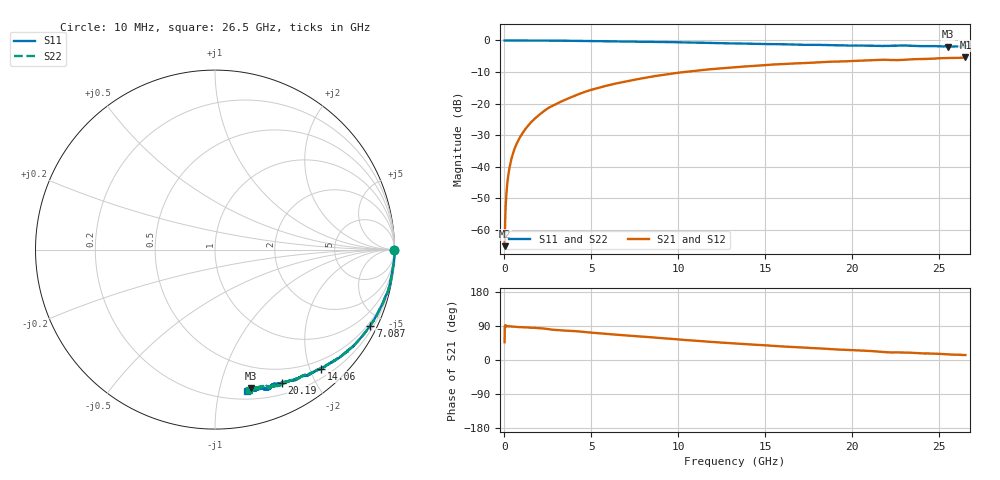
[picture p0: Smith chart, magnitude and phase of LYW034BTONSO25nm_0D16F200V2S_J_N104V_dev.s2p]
!Keysight Technologies,N5222B,MY61253708,A.15.00.15
!Date: Wednesday, June 19, 2024 09:40:27
!Correction: S11(C  2-Port  )
!S21(C  2-Port  )
!S12(C  2-Port  )
!S22(C  2-Port  )
!S2P File: Measurements: S11, S21, S12, S22:
# Hz S  RI  R 50
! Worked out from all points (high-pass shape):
!   2651 points, 10 MHz to 26.5 GHz, reference 50 ohm
!   highest |S21| = -5.39 dB at 26.5 GHz (marker M1); lowest = -65.1 dB at 10 MHz (marker M2)
!   |S21| within 3 dB of the highest: 13.44 GHz to end of sweep
!   lowest |S11| = -2.0 dB at 25.5 GHz (marker M3), VSWR 8.83, Z = 14.8 - j62.4 ohm
!   |S11| at or under -10 dB: nowhere
!   |S22| runs from -1.9 to 0.0 dB; largest |S21 - S12| = 0.0067
!   S11 on the Smith chart (normalised r, x): 10 MHz: open; 7.087 GHz: 0.36, -4.29; 14.06 GHz: 0.34, -2.19; 20.19 GHz: 0.33, -1.57; 26.5 GHz: 0.27, -1.22
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1e7  0.9986 -0.00269  0.000377 0.000407  -0.000119 0.00038  0.9984 -0.00101
7.997358e7  0.9999 -0.00574  4.6e-05 0.00265  1.38e-05 0.00263  0.9993 -0.00527
1.599434e8  0.9999 -0.0114  7.85e-05 0.0053  5.86e-05 0.00536  0.9996 -0.0108
1.999283e8  1 -0.0137  0.000115 0.00664  9.99e-05 0.00667  0.9997 -0.013
2.699019e8  0.9997 -0.0185  0.000139 0.00897  0.000164 0.00902  0.9998 -0.0178
3.698642e8  0.9995 -0.0255  0.000288 0.0123  0.000339 0.0124  0.9994 -0.0247
5.098113e8  0.9989 -0.0342  0.000604 0.0169  0.000629 0.017  0.9993 -0.0337
6.697509e8  0.9984 -0.0445  0.000977 0.0221  0.00093 0.0223  0.9986 -0.0439
8.696755e8  0.9979 -0.0581  0.00162 0.0286  0.00162 0.0288  0.9973 -0.0577
1.469449e9  0.9906 -0.099  0.00381 0.0487  0.00386 0.049  0.9932 -0.0955
2.349117e9  0.9817 -0.1532  0.0103 0.0785  0.0105 0.0792  0.9828 -0.1537
3.208792e9  0.9705 -0.2081  0.0213 0.1042  0.0215 0.1049  0.9702 -0.2078
4.428332e9  0.9421 -0.281  0.0387 0.1418  0.0391 0.1429  0.9435 -0.2789
7.087328e9  0.8654 -0.4232  0.0982 0.2059  0.0996 0.2067  0.866 -0.4226
8.846664e9  0.802 -0.5027  0.1457 0.2368  0.1474 0.2376  0.8025 -0.5019
1.3255e10  0.6255 -0.6425  0.2731 0.2606  0.2758 0.2603  0.6278 -0.6414
1.406469e10  0.5925 -0.6643  0.2949 0.2578  0.2969 0.2577  0.5968 -0.6573
1.767333e10  0.4533 -0.7213  0.3792 0.2324  0.3829 0.2305  0.4622 -0.7186
2.019238e10  0.372 -0.7434  0.4274 0.2063  0.4304 0.2026  0.3841 -0.7408
2.209166e10  0.3182 -0.7535  0.4616 0.1701  0.4635 0.1668  0.3109 -0.7591
2.550038e10  0.1992 -0.7712  0.5104 0.1335  0.5119 0.1325  0.2185 -0.7729
2.65e10  0.1799 -0.7854  0.5238 0.1223  0.5233 0.118  0.1921 -0.7825
